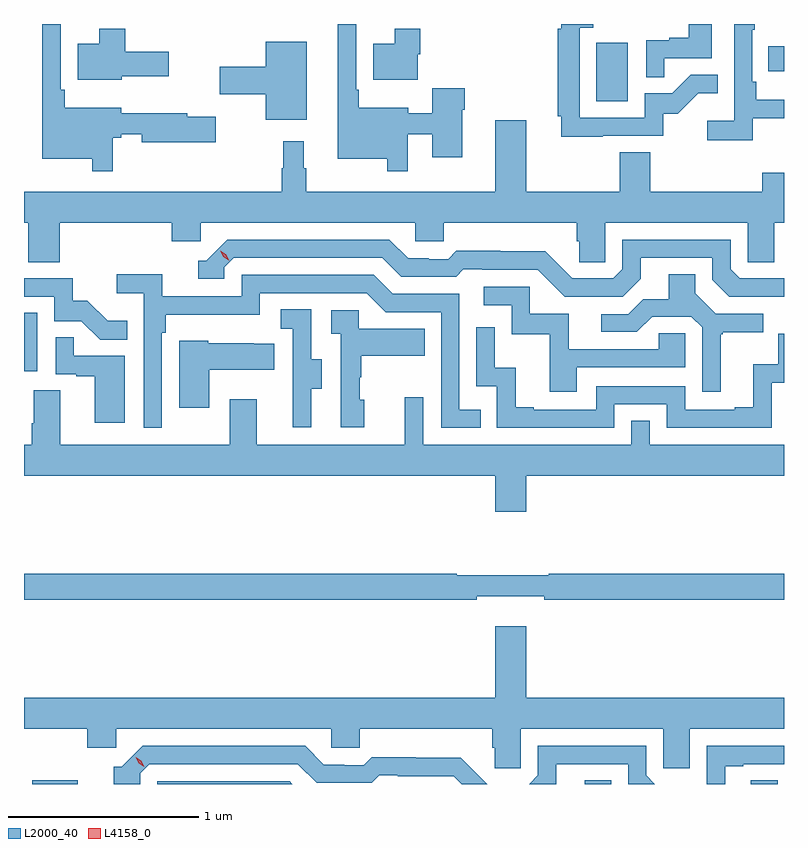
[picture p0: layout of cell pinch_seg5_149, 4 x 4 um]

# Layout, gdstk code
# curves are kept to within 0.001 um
import gdstk
lib = gdstk.Library(unit=1e-6, precision=1e-09)
def R(c, l, rs):  # rectangles x0, y0, x1, y1
    for r in rs: c.add(gdstk.rectangle(r[:2], r[2:], *l))
def P(c, l, *ps):  # polygons
    for p in ps: c.add(gdstk.Polygon(p, *l))
L2000_40 = (2000, 40)
L4158_0 = (4158, 0)

pinch_seg5_149 = lib.new_cell('pinch_seg5_149')
R(pinch_seg5_149, L2000_40, [(1097.637,873.786,1097.876,873.806), (1100.543,873.786,1100.683,873.806), (1101.419,873.786,1101.559,873.806), (1097.593,875.958,1097.662,876.265), (1100.606,877.38,1100.77,877.687), (1101.511,877.538,1101.593,877.668)])
P(pinch_seg5_149, L2000_40, [(1100.639,877.197),(1100.958,877.197),(1100.958,877.314),(1101.034,877.314),(1101.141,877.421),(1101.245,877.421),(1101.245,877.52),(1101.102,877.52),(1101.004,877.422),(1100.859,877.422),(1100.859,877.293),(1100.517,877.293),(1100.517,877.767),(1100.59,877.767),(1100.59,877.786),(1100.42,877.786),(1100.42,877.76),(1100.401,877.76),(1100.401,877.3),(1100.42,877.3),(1100.42,877.192),(1100.639,877.192)],
  [(1099.614,877.206),(1099.742,877.206),(1099.742,877.086),(1099.9,877.086),(1099.9,877.334),(1099.913,877.334),(1099.913,877.447),(1099.742,877.447),(1099.742,877.315),(1099.615,877.315),(1099.615,877.345),(1099.354,877.345),(1099.354,877.441),(1099.341,877.441),(1099.341,877.786),(1099.244,877.786),(1099.244,877.076),(1099.506,877.076),(1099.506,877.011),(1099.614,877.011)],
  [(1100.963,877.605),(1101.214,877.605),(1101.214,877.786),(1101.092,877.786),(1101.092,877.714),(1100.989,877.714),(1100.989,877.701),(1100.868,877.701),(1100.868,877.507),(1100.963,877.507)],
  [(1098.061,877.187),(1098.106,877.187),(1098.106,877.206),(1098.212,877.206),(1098.212,877.163),(1098.601,877.163),(1098.601,877.298),(1098.451,877.298),(1098.451,877.316),(1098.106,877.316),(1098.106,877.345),(1097.807,877.345),(1097.807,877.441),(1097.787,877.441),(1097.787,877.786),(1097.69,877.786),(1097.69,877.076),(1097.952,877.076),(1097.952,877.011),(1098.061,877.011)],
  [(1101.428,877.29),(1101.593,877.29),(1101.593,877.387),(1101.446,877.387),(1101.446,877.483),(1101.426,877.483),(1101.426,877.756),(1101.439,877.756),(1101.439,877.786),(1101.33,877.786),(1101.33,877.276),(1101.189,877.276),(1101.189,877.174),(1101.428,877.174)],
  [(1099.666,877.626),(1099.679,877.626),(1099.679,877.762),(1099.544,877.762),(1099.544,877.681),(1099.43,877.681),(1099.43,877.493),(1099.666,877.493)],
  [(1098.108,877.511),(1098.355,877.511),(1098.355,877.641),(1098.125,877.641),(1098.125,877.762),(1097.99,877.762),(1097.99,877.681),(1097.876,877.681),(1097.876,877.493),(1098.108,877.493)],
  [(1099.081,877.693),(1098.866,877.693),(1098.866,877.562),(1098.624,877.562),(1098.624,877.415),(1098.866,877.415),(1098.866,877.283),(1099.081,877.283)],
  [(1098.957,877.168),(1098.957,877.028),(1098.949,877.028),(1098.949,876.904),(1097.593,876.904),(1097.593,876.74),(1097.615,876.74),(1097.615,876.532),(1097.78,876.532),(1097.78,876.74),(1098.371,876.74),(1098.371,876.642),(1098.522,876.642),(1098.522,876.74),(1099.653,876.74),(1099.653,876.642),(1099.803,876.642),(1099.803,876.74),(1100.501,876.74),(1100.501,876.642),(1100.515,876.642),(1100.515,876.532),(1100.652,876.532),(1100.652,876.74),(1101.402,876.74),(1101.402,876.532),(1101.541,876.532),(1101.541,876.74),(1101.593,876.74),(1101.593,877.002),(1101.479,877.002),(1101.479,876.904),(1100.888,876.904),(1100.888,877.112),(1100.728,877.112),(1100.728,876.904),(1100.236,876.904),(1100.236,877.279),(1100.072,877.279),(1100.072,876.904),(1099.078,876.904),(1099.078,877.028),(1099.066,877.028),(1099.066,877.168)],
  [(1101.593,876.447),(1101.36,876.447),(1101.312,876.495),(1101.312,876.651),(1100.742,876.651),(1100.742,876.495),(1100.694,876.447),(1100.478,876.447),(1100.336,876.589),(1100.1,876.589),(1100.1,876.592),(1099.867,876.592),(1099.825,876.549),(1099.722,876.549),(1099.722,876.552),(1099.615,876.552),(1099.516,876.651),(1098.663,876.651),(1098.552,876.54),(1098.509,876.54),(1098.509,876.444),(1098.648,876.444),(1098.648,876.507),(1098.696,876.555),(1099.479,876.555),(1099.578,876.456),(1099.867,876.456),(1099.906,876.495),(1100.005,876.495),(1100.005,876.492),(1100.298,876.492),(1100.439,876.351),(1100.745,876.351),(1100.839,876.445),(1100.839,876.555),(1101.216,876.555),(1101.216,876.441),(1101.306,876.351),(1101.593,876.35)],
  [(1101.259,876.153),(1101.271,876.153),(1101.271,876.164),(1101.484,876.164),(1101.484,876.261),(1101.234,876.261),(1101.127,876.368),(1101.127,876.47),(1100.987,876.47),(1100.987,876.338),(1100.852,876.338),(1100.772,876.258),(1100.631,876.258),(1100.631,876.165),(1100.818,876.165),(1100.899,876.246),(1101.105,876.246),(1101.162,876.189),(1101.162,875.85),(1101.259,875.85)],
  [(1098.318,876.161),(1098.338,876.161),(1098.338,876.257),(1098.834,876.257),(1098.834,876.369),(1099.398,876.369),(1099.497,876.27),(1099.788,876.27),(1099.788,875.661),(1099.997,875.661),(1099.997,875.757),(1099.884,875.757),(1099.884,876.366),(1099.534,876.366),(1099.435,876.465),(1098.738,876.465),(1098.738,876.354),(1098.32,876.354),(1098.32,876.47),(1098.081,876.47),(1098.081,876.368),(1098.222,876.368),(1098.222,875.661),(1098.318,875.661)],
  [(1098.137,876.223),(1098.033,876.223),(1097.926,876.33),(1097.85,876.33),(1097.85,876.447),(1097.593,876.447),(1097.593,876.351),(1097.751,876.351),(1097.751,876.222),(1097.895,876.222),(1097.993,876.124),(1098.137,876.124)],
  [(1100.503,875.979),(1101.072,875.979),(1101.072,876.159),(1100.935,876.159),(1100.935,876.075),(1100.461,876.075),(1100.461,876.261),(1100.256,876.261),(1100.256,876.402),(1100.013,876.402),(1100.013,876.306),(1100.16,876.306),(1100.16,876.153),(1100.359,876.153),(1100.359,875.85),(1100.503,875.85)],
  [(1099.105,875.866),(1099.159,875.866),(1099.159,876.021),(1099.104,876.021),(1099.104,876.284),(1098.945,876.284),(1098.945,876.181),(1099.008,876.181),(1099.008,875.877),(1099.007,875.877),(1099.007,875.664),(1099.105,875.664)],
  [(1099.384,875.808),(1099.359,875.808),(1099.359,875.927),(1099.369,875.927),(1099.369,876.041),(1099.703,876.041),(1099.703,876.181),(1099.356,876.181),(1099.356,876.279),(1099.209,876.279),(1099.209,876.155),(1099.26,876.155),(1099.26,875.664),(1099.384,875.664)],
  [(1100.7,875.784),(1100.976,875.784),(1100.976,875.661),(1101.528,875.661),(1101.528,875.897),(1101.593,875.897),(1101.593,876.156),(1101.564,876.156),(1101.564,875.995),(1101.431,875.995),(1101.431,875.77),(1101.335,875.77),(1101.335,875.757),(1101.072,875.757),(1101.072,875.88),(1100.604,875.88),(1100.604,875.757),(1100.275,875.757),(1100.275,875.77),(1100.18,875.77),(1100.18,875.978),(1100.07,875.978),(1100.07,876.19),(1099.974,876.19),(1099.974,875.88),(1100.082,875.88),(1100.082,875.661),(1100.7,875.661)],
  [(1098.124,876.039),(1097.855,876.039),(1097.855,876.137),(1097.76,876.137),(1097.76,875.943),(1097.867,875.943),(1097.867,875.931),(1097.966,875.931),(1097.966,875.688),(1098.124,875.688)],
  [(1098.568,875.966),(1098.911,875.966),(1098.911,876.103),(1098.803,876.103),(1098.803,876.106),(1098.564,876.106),(1098.564,876.118),(1098.41,876.118),(1098.41,875.766),(1098.568,875.766)],
  [(1100.236,875.408),(1101.593,875.408),(1101.593,875.572),(1100.886,875.572),(1100.886,875.699),(1100.79,875.699),(1100.79,875.572),(1099.695,875.572),(1099.695,875.821),(1099.598,875.821),(1099.598,875.572),(1098.817,875.572),(1098.817,875.812),(1098.677,875.812),(1098.677,875.572),(1097.785,875.572),(1097.785,875.858),(1097.645,875.858),(1097.645,875.684),(1097.633,875.684),(1097.633,875.572),(1097.593,875.572),(1097.593,875.408),(1100.072,875.408),(1100.072,875.22),(1100.236,875.22)],
  [(1099.976,874.775),(1100.332,874.775),(1100.332,874.756),(1101.593,874.756),(1101.593,874.892),(1100.355,874.892),(1100.355,874.885),(1099.87,874.885),(1099.87,874.892),(1097.593,874.892),(1097.593,874.756),(1099.976,874.756)],
  [(1097.593,874.076),(1097.927,874.076),(1097.927,873.978),(1098.078,873.978),(1098.078,874.076),(1099.209,874.076),(1099.209,873.978),(1099.359,873.978),(1099.359,874.076),(1100.057,874.076),(1100.057,873.978),(1100.071,873.978),(1100.071,873.868),(1100.208,873.868),(1100.208,874.076),(1100.958,874.076),(1100.958,873.868),(1101.097,873.868),(1101.097,874.076),(1101.593,874.076),(1101.593,874.24),(1100.236,874.24),(1100.236,874.615),(1100.072,874.615),(1100.072,874.24),(1097.593,874.24)],
  [(1101.283,873.879),(1101.379,873.879),(1101.379,873.891),(1101.593,873.891),(1101.593,873.987),(1101.186,873.987),(1101.186,873.786),(1101.283,873.786)],
  [(1100.395,873.891),(1100.772,873.891),(1100.772,873.786),(1100.913,873.786),(1100.868,873.831),(1100.868,873.987),(1100.298,873.987),(1100.298,873.831),(1100.253,873.786),(1100.395,873.786)],
  [(1098.204,873.843),(1098.252,873.891),(1099.035,873.891),(1099.134,873.792),(1099.423,873.792),(1099.462,873.831),(1099.561,873.831),(1099.561,873.828),(1099.854,873.828),(1099.896,873.786),(1100.031,873.786),(1099.892,873.925),(1099.656,873.925),(1099.656,873.928),(1099.423,873.928),(1099.381,873.885),(1099.278,873.885),(1099.278,873.888),(1099.171,873.888),(1099.072,873.987),(1098.219,873.987),(1098.108,873.876),(1098.065,873.876),(1098.065,873.786),(1098.204,873.786)],
  [(1098.991,873.801),(1098.294,873.801),(1098.294,873.786),(1099.006,873.786)])
P(pinch_seg5_149, L4158_0, [(1098.672,876.541),(1098.641,876.56),(1098.625,876.593),(1098.625,876.593),(1098.625,876.593),(1098.656,876.574),(1098.673,876.541),(1098.673,876.541)],
  [(1098.227,873.876),(1098.196,873.896),(1098.18,873.928),(1098.18,873.928),(1098.18,873.928),(1098.211,873.909),(1098.227,873.876),(1098.227,873.876)])

lib.write_gds('pinch_seg5_149.gds')
